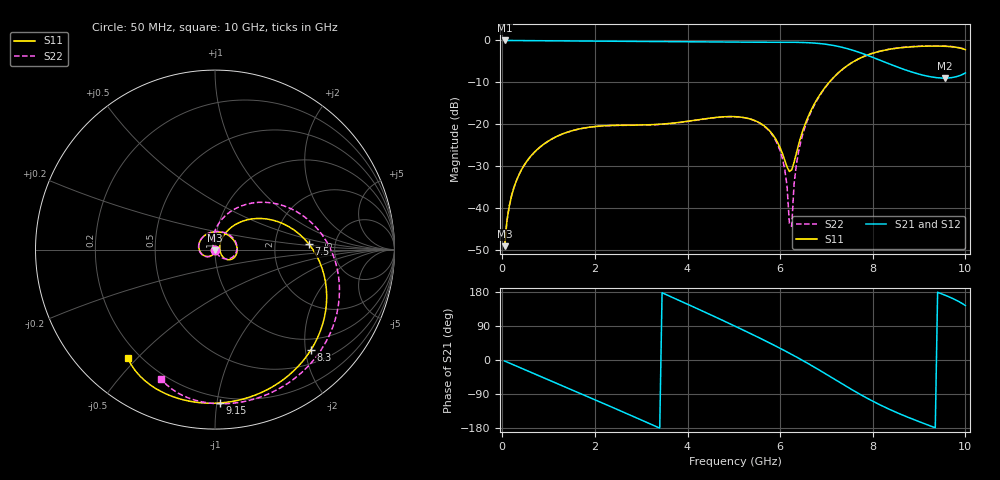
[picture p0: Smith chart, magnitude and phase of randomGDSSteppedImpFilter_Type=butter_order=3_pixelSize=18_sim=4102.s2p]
! freq	dB(S11)	phase(S11)	dB(S12)	phase(S12)
!  dB(S21)	phase(S21)	dB(S22)	phase(S22)
!S-par simulation data
#  GHz  S  DB  R 50
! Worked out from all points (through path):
!   200 points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, 50 MHz to 10 GHz, reference 50 ohm
!   highest |S21| = -0.01 dB at 50 MHz (marker M1); lowest = -9.0 dB at 9.55 GHz (marker M2)
!   group delay of S21, straight-line fit = 164 ps
!   lowest |S11| = -49.1 dB at 50 MHz (marker M3), VSWR 1.01, Z = 50 - j0.352 ohm
!   |S11| at or under -10 dB: start of sweep to 7.057 GHz
!   |S22| runs from -49.1 to -1.3 dB; largest |S21 - S12| = 0
!   S11 on the Smith chart (normalised r, x): 50 MHz: 1.00, -0.01; 7.5 GHz: 3.16, +0.28; 8.3 GHz: 0.76, -2.11; 9.15 GHz: 0.16, -1.02; 10 GHz: 0.15, -0.47
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0.05  -49.07 -91.4  -0.01 -2.7  -0.01 -2.7  -49.07 -91.3
0.2  -37.06 -100.4  -0.03 -10.6  -0.03 -10.6  -37.07 -100.1
0.5  -29.30 -116.7  -0.04 -26.3  -0.04 -26.3  -29.30 -116.0
1.15  -23.04 -152.0  -0.09 -60.3  -0.09 -60.3  -23.04 -150.1
1.75  -20.92 175.0  -0.14 -91.8  -0.14 -91.8  -20.93 178.7
2.7  -20.21 121.8  -0.21 -142.1  -0.21 -142.1  -20.24 130.2
3.4  -19.99 81.8  -0.27 -179.8  -0.27 -179.8  -20.04 94.6
4.15  -19.05 40.0  -0.34 138.9  -0.34 138.9  -19.10 54.8
5.05  -18.19 -7.5  -0.41 87.9  -0.41 87.9  -18.21 4.0
5.9  -23.45 -42.9  -0.42 37.1  -0.42 37.1  -23.78 -47.7
6.1  -28.57 -31.7  -0.42 24.4  -0.42 24.4  -30.81 -61.9
6.2  -31.26 -1.2  -0.43 18.0  -0.43 18.0  -43.66 -77.9
6.25  -30.86 21.0  -0.43 14.7  -0.43 14.7  -44.34 123.6
6.3  -29.08 38.6  -0.44 11.4  -0.44 11.4  -34.37 111.7
6.4  -24.76 54.8  -0.46 4.7  -0.46 4.7  -26.40 102.6
6.7  -15.96 53.3  -0.60 -16.1  -0.60 -16.1  -16.25 80.6
7.5  -5.63 3.6  -2.11 -74.7  -2.11 -74.7  -5.65 21.7
8.3  -2.23 -46.3  -5.35 -126.8  -5.35 -126.8  -2.21 -30.4
8.35  -2.13 -49.0  -5.57 -129.6  -5.57 -129.6  -2.11 -33.2
9.15  -1.36 -88.2  -8.45 -169.6  -8.45 -169.6  -1.31 -72.8
9.55  -1.39 -106.2  -8.99 171.6  -8.99 171.6  -1.34 -90.6
10  -2.21 -128.8  -7.75 143.6  -7.75 143.6  -2.15 -112.5
